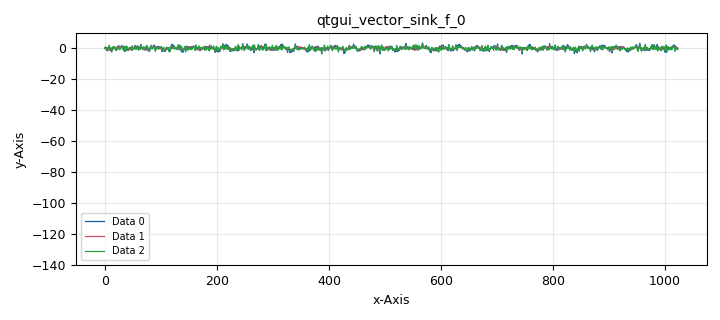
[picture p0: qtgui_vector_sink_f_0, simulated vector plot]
options:
  parameters:
    author: vlpannel
    generate_options: qt_gui
    id: test_vectorsink
    output_language: python
    title: Not titled yet
  states: {}

blocks:
- name: samp_rate
  id: variable
  parameters:
    value: '32000'
  states: {}
- name: analog_fastnoise_source_x_0
  id: analog_fastnoise_source_x
  parameters:
    amp: '1'
    noise_type: analog.GR_GAUSSIAN
    samples: '8192'
    seed: '0'
    type: float
  states: {}
- name: analog_sig_source_x_0
  id: analog_sig_source_x
  parameters:
    amp: '1'
    freq: '1001'
    offset: '0'
    phase: '0'
    samp_rate: samp_rate
    type: float
    waveform: analog.GR_COS_WAVE
  states: {}
- name: blocks_add_xx_0
  id: blocks_add_xx
  parameters:
    type: float
  states: {}
- name: blocks_complex_to_mag_squared_0
  id: blocks_complex_to_mag_squared
  parameters: {}
  states: {state: disabled}
- name: blocks_stream_to_vector_0
  id: blocks_stream_to_vector
  parameters:
    num_items: '1024'
    type: float
  states: {}
- name: blocks_stream_to_vector_0_0
  id: blocks_stream_to_vector
  parameters:
    num_items: '1024'
    type: float
  states: {}
- name: blocks_stream_to_vector_0_1
  id: blocks_stream_to_vector
  parameters:
    num_items: '1024'
    type: float
  states: {}
- name: blocks_throttle_0
  id: blocks_throttle
  parameters:
    samples_per_second: samp_rate
    type: float
  states: {}
- name: qtgui_vector_sink_f_0
  id: qtgui_vector_sink_f
  parameters:
    nconnections: '3'
    vlen: '1024'
    x_start: '0'
    x_step: '1.0'
  states: {}

connections:
- [analog_fastnoise_source_x_0, '0', blocks_add_xx_0, '1']
- [analog_fastnoise_source_x_0, '0', blocks_stream_to_vector_0_1, '0']
- [analog_sig_source_x_0, '0', blocks_throttle_0, '0']
- [blocks_add_xx_0, '0', blocks_complex_to_mag_squared_0, '0']
- [blocks_add_xx_0, '0', blocks_stream_to_vector_0, '0']
- [blocks_complex_to_mag_squared_0, '0', blocks_stream_to_vector_0, '0']
- [blocks_stream_to_vector_0, '0', qtgui_vector_sink_f_0, '0']
- [blocks_stream_to_vector_0_0, '0', qtgui_vector_sink_f_0, '1']
- [blocks_stream_to_vector_0_1, '0', qtgui_vector_sink_f_0, '2']
- [blocks_throttle_0, '0', blocks_add_xx_0, '0']
- [blocks_throttle_0, '0', blocks_complex_to_mag_squared_0, '0']
- [blocks_throttle_0, '0', blocks_stream_to_vector_0_0, '0']

metadata:
  file_format: 1
  grc_version: 3.10.3.0
